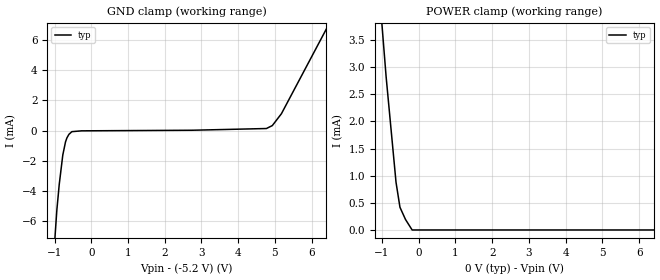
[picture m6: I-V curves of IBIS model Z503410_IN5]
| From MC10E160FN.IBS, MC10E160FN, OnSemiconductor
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| (C) COPYRIGHT 1993-2000
| MENTOR GRAPHICS CORPORATION
| ICX STANDARD LIBRARY, ICX PROJECT MODELING,
| ICX CUSTOM MODELING, ICX VENDOR MODEL
| ALL RIGHTS RESERVED.
| THE FOLLOWING ARE TRADEMARKS OR SERVICE MARKS OF
| MENTOR GRAPHICS CORPORATION:ICX (R), ICX STANDARD
| LIBRARY(R), ICX PROJECT MODELING(R), ICX CUSTOM
| MODELING(R), qualityIBIS(TM), MODELVIEWER(TM),
| AND MODELEDITOR(TM)
| ALL COPIES OF SOFTWARE, INCLUDING BUT NOT LIMITED TO
| ANY MODIFICATIONS, ENHANCEMENTS OR DERIVATIVE WORKS,
| MUST CONTAIN ALL MENTOR GRAPHICS CORPORATION'S
| NOTICES AND LEGENDS, INCLUDING THOSE EMBEDDED IN
| SOFTWARE AND THOSE AFFIXED TO SOFTWARE MEDIUM
| AND CONTAINER, AS RECEIVED FROM MENTOR GRAPHICS
| CORPORATION.
| Model Application Version 1.89 2/18/99.
[Model] Z503410_IN5
Model_type Input_ECL
Vinl = -1.480V
Vinh = -1.130V
C_comp 4.000pF NA NA
| variable typ   min   max
[Voltage Range] -5.200V NA NA
[GND Clamp Reference] -5.200V NA NA
[POWER Clamp Reference] 0.000V NA NA
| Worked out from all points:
|   GND clamp passes 1 mA (typ) near -0.72 V on its own axis
[GND Clamp]
-5.2V     -209.8mA   NA         NA
-1.128V   -12.01mA   NA         NA
-937mV    -5.254mA   NA         NA
-872mV    -3.56mA    NA         NA
-775mV    -1.616mA   NA         NA
-701mV    -749.4uA   NA         NA
-609mV    -254.1uA   NA         NA
-528mV    -74.99uA   NA         NA
4.77V     132.5uA    NA         NA
4.931V    326.6uA    NA         NA
5.18V     1.115mA    NA         NA
10.4V     25.02mA    NA         NA
[POWER Clamp]
-5.2V     48.39mA    NA         NA
-2.578V   17.32mA    NA         NA
-2.368V   15.34mA    NA         NA
-888.4mV  2.818mA    NA         NA
-619.1mV  877.6uA    NA         NA
-512mV    418uA      NA         NA
-360.9mV  192.9uA    NA         NA
-180.5mV  0A         NA         NA
10.4V     0A         NA         NA
